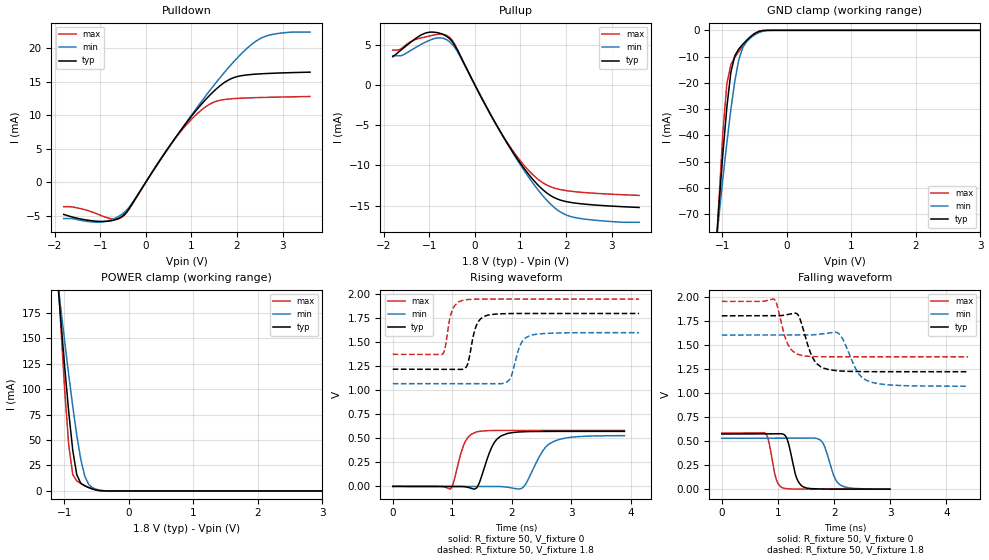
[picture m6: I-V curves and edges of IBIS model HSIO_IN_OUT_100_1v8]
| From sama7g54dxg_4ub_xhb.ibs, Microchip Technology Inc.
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|   Model   HSIO_IN_OUT_100
[Model] HSIO_IN_OUT_100_1v8
Model_type I/O
Enable   Active-High
Vinl  =  0.54
Vinh  =  1.26
Vmeas =  0.900
| Capacitance   typ   min   max
C_comp   1.177640254581743e-12   1.127359926907533e-12   1.248152577014627e-12
| Variables   typ   min   max
[GND Clamp Reference]   0   0   0
[POWER Clamp Reference]   1.8   1.6   1.95
[Pulldown Reference]   0   0   0
[Pullup Reference]   1.8   1.6   1.95
[Temperature Range]   25   125   -40
[Voltage Range]   1.8   1.6   1.95
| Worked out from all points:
|   slope of the pulldown table from 0 to 0.27 V, typ, clamps not added: 94.6 ohm
|   slope of the pullup table from 0 to 0.27 V, typ, clamps not added: 92.7 ohm
|   GND clamp passes 1 mA (typ) near -0.48 V on its own axis
|   POWER clamp passes 1 mA (typ) near -0.51 V on its own axis
|   falling waveform, R_fixture 50, V_fixture 0: 20-80 % time 139ps typ, 177ps min, 115ps max; typ from 0.573 V to 0 V
|   falling waveform, R_fixture 50, V_fixture 1.8: 20-80 % time 209ps typ, 265ps min, 174ps max; typ from 1.8 V to 1.22 V
|   rising waveform, R_fixture 50, V_fixture 0: 20-80 % time 209ps typ, 290ps min, 165ps max; typ from 0 V to 0.572 V
|   rising waveform, R_fixture 50, V_fixture 1.8: 20-80 % time 127ps typ, 155ps min, 108ps max; typ from 1.22 V to 1.8 V
[GND Clamp]
| Voltage   I(typ)   I(min)   I(max)
-1.8V     -342.3mA   -209.2mA   -383.3mA
-1.117V   -88.39mA   -86.15mA   -95.55mA
-1.055V   -67.21mA   -71.19mA   -65.5mA
-993.1mV  -47.19mA   -56.68mA   -39.13mA
-931mV    -29.34mA   -42.9mA    -20.4mA
-869mV    -16.01mA   -30.18mA   -13.03mA
-806.9mV  -9.618mA   -19.22mA   -10.3mA
-744.8mV  -7.072mA   -11.14mA   -8.013mA
-682.8mV  -5.281mA   -6.497mA   -5.883mA
-496.6mV  -1.194mA   -1.68mA    -1.075mA
-248.3mV  -1.216uA   -21.25uA   -194.8nA
3.6V      0A         0A         0A
[POWER Clamp]
| Voltage   I(typ)   I(min)   I(max)
-1.8V     802.5mA    491.9mA    900.5mA
-1.117V   217.9mA    214.2mA    234.3mA
-1.055V   168.5mA    179.8mA    163.3mA
-993.1mV  121.1mA    146.2mA    97.87mA
-931mV    77.14mA    113.8mA    44.82mA
-869mV    39.81mA    82.91mA    16.05mA
-806.9mV  15.88mA    54.71mA    9.814mA
-744.8mV  7.567mA    31.01mA    7.329mA
-682.8mV  4.949mA    14.52mA    5.17mA
-558.6mV  1.852mA    2.929mA    1.709mA
-372.4mV  33.21uA    209.1uA    14.39uA
3.6V      0A         0A         0A
[Pulldown]
| Voltage   I(typ)   I(min)   I(max)
-1.8V     -4.807mA   -5.427mA   -3.653mA
-993.1mV  -5.852mA   -5.947mA   -4.933mA
-682.8mV  -5.638mA   -5.403mA   -5.515mA
-496.6mV  -4.976mA   -4.645mA   -5.105mA
-310.3mV  -3.351mA   -3.212mA   -3.43mA
620.7mV   6.36mA     6.31mA     6.298mA
993.1mV   9.762mA    9.913mA    9.314mA
1.366V    12.7mA     13.33mA    11.48mA
1.862V    15.4mA     17.45mA    12.42mA
2.483V    16.13mA    21.3mA     12.61mA
2.917V    16.27mA    22.18mA    12.68mA
3.6V      16.39mA    22.37mA    12.77mA
[Pullup]
| Voltage   I(typ)   I(min)   I(max)
-1.8V     3.511mA    3.633mA    4.333mA
-1.614V   4.362mA    3.633mA    4.509mA
-1.117V   6.38mA     5.219mA    5.926mA
-806.9mV  6.486mA    5.853mA    6.304mA
-620.7mV  6.053mA    5.63mA     6.163mA
-372.4mV  4.213mA    4.05mA     4.293mA
620.7mV   -6.424mA   -6.422mA   -6.368mA
993.1mV   -9.707mA   -9.892mA   -9.417mA
1.366V    -12.35mA   -12.92mA   -11.65mA
1.738V    -14.01mA   -15.23mA   -12.82mA
2.048V    -14.56mA   -16.27mA   -13.18mA
3.6V      -15.24mA   -17.07mA   -13.74mA
[Ramp]
dV/dt_r   0.343741/0.209703n  0.317144/0.291085n  0.349808/0.165202n
dV/dt_f   0.348444/0.209259n  0.318724/0.265546n  0.345589/0.174429n
R_load = 50
[Falling Waveform]
R_fixture = 50
V_fixture = 0
V_fixture_min = 0
V_fixture_max = 0
| Time   V(typ)   V(min)   V(max)
0s        572.9mV    528.6mV    583mV
779.5ps   573.5mV    529mV      578.4mV
963ps     574.1mV    529.1mV    114.9mV
1.074ns   574.8mV    529.2mV    16.2mV
1.172ns   505.4mV    529.2mV    4.219mV
1.337ns   108.9mV    529.3mV    1.116mV
1.462ns   21.03mV    529.4mV    1.012mV
1.78ns    1.809mV    495mV      745.1uV
2.107ns   850uV      45.44mV    470.9uV
2.993ns   133uV      972.9uV    103.5uV
[Falling Waveform]
R_fixture = 50
V_fixture = 1.8
V_fixture_min = 1.6
V_fixture_max = 1.95
| Time   V(typ)   V(min)   V(max)
0s        1.8V       1.6V       1.95V
928ps     1.801V     1.601V     1.973V
1.178ns   1.813V     1.601V     1.502V
1.358ns   1.81V      1.601V     1.399V
1.493ns   1.572V     1.601V     1.381V
1.649ns   1.334V     1.603V     1.376V
1.924ns   1.239V     1.623V     1.374V
2.118ns   1.227V     1.593V     1.374V
2.579ns   1.22V      1.129V     1.374V
4.387ns   1.22V      1.069V     1.374V
[Rising Waveform]
R_fixture = 50
V_fixture = 0
V_fixture_min = 0
V_fixture_max = 0
| Time   V(typ)   V(min)   V(max)
0s        1.805nV    303.6nV    67.59pV
965.9ps   -568uV     -237.3uV   -27.9mV
1.221ns   -4.466mV   -300.1uV   471.4mV
1.409ns   -12.27mV   -346.3uV   567.5mV
1.706ns   458.3mV    -419.4uV   581.7mV
1.922ns   550.7mV    -8.068mV   582.5mV
2.201ns   568.9mV    -1.477mV   582.5mV
2.524ns   571.9mV    373.9mV    582.5mV
2.742ns   572.5mV    477.6mV    582.5mV
3.889ns   572.5mV    527.8mV    582.5mV
[Rising Waveform]
R_fixture = 50
V_fixture = 1.8
V_fixture_min = 1.6
V_fixture_max = 1.95
| Time   V(typ)   V(min)   V(max)
0s        1.219V     1.069V     1.374V
835.8ps   1.219V     1.068V     1.376V
995ps     1.219V     1.068V     1.826V
1.165ns   1.218V     1.068V     1.934V
1.262ns   1.281V     1.068V     1.944V
1.411ns   1.685V     1.068V     1.948V
1.594ns   1.782V     1.068V     1.949V
1.951ns   1.798V     1.104V     1.949V
2.307ns   1.799V     1.569V     1.949V
4.135ns   1.799V     1.6V       1.949V
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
